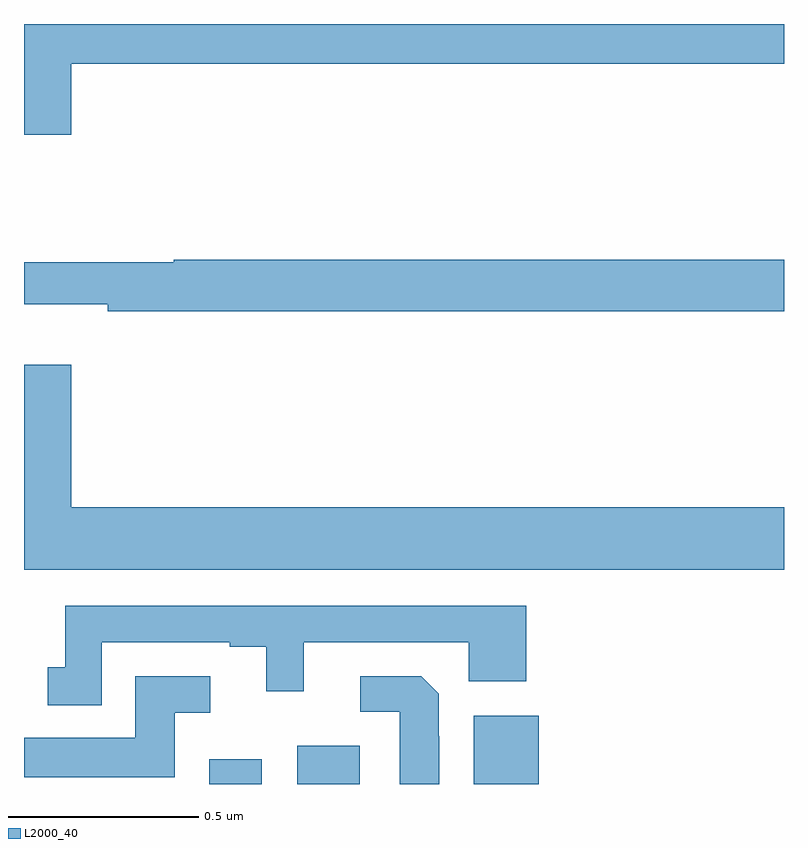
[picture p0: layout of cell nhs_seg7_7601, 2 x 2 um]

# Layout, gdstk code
import gdstk
lib = gdstk.Library(unit=1e-6, precision=1e-09)
def R(c, l, rs):  # rectangles x0, y0, x1, y1
    for r in rs: c.add(gdstk.rectangle(r[:2], r[2:], *l))
def P(c, l, *ps):  # polygons
    for p in ps: c.add(gdstk.Polygon(p, *l))
L2000_40 = (2000, 40)

nhs_seg7_7601 = lib.new_cell('nhs_seg7_7601')
R(nhs_seg7_7601, L2000_40, [(213.488,1052,213.625,1052.065), (213.719,1052,213.883,1052.101), (214.184,1052,214.355,1052.179)])
P(nhs_seg7_7601, L2000_40, [(213.124,1053.896),(215,1053.896),(215,1054),(213,1054),(213,1053.708),(213.124,1053.708)],
  [(215,1053.38),(213.394,1053.38),(213.394,1053.373),(213,1053.373),(213,1053.263),(213.22,1053.263),(213.22,1053.244),(215,1053.244)],
  [(215,1052.728),(213.124,1052.728),(213.124,1053.103),(213,1053.103),(213,1052.564),(215,1052.564)],
  [(213.204,1052.373),(213.542,1052.373),(213.542,1052.361),(213.638,1052.361),(213.638,1052.244),(213.736,1052.244),(213.736,1052.373),(214.17,1052.373),(214.17,1052.27),(214.322,1052.27),(214.322,1052.469),(213.108,1052.469),(213.108,1052.307),(213.062,1052.307),(213.062,1052.207),(213.204,1052.207)],
  [(213.397,1052.187),(213.49,1052.187),(213.49,1052.283),(213.293,1052.283),(213.293,1052.122),(213,1052.122),(213,1052.018),(213.397,1052.018)],
  [(214.093,1052.126),(214.092,1052.126),(214.092,1052.237),(214.046,1052.283),(213.885,1052.283),(213.885,1052.19),(213.989,1052.19),(213.989,1052),(214.093,1052)])

lib.write_gds('nhs_seg7_7601.gds')
